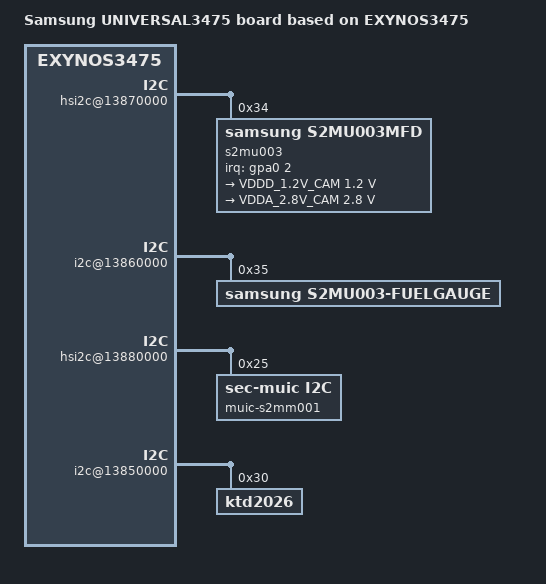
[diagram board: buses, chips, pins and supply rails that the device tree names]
/*
 * SAMSUNG EXYNOS3475 board device tree source
 *
 * Copyright (c) 2013 Samsung Electronics Co., Ltd.
 *		http://www.samsung.com
 *
 * This program is free software; you can redistribute it and/or modify
 * it under the terms of the GNU General Public License version 2 as
 * published by the Free Software Foundation.
*/

/dts-v1/;
#include "exynos3475-novel_common.dtsi"
#include "modem-ss308ap-pdata.dtsi"
#include "exynos3475-novellte_kor-tdmb_00.dtsi"
#include "exynos3475-novellte_kor_open_gpio_00.dtsi"

/ {
	model = "Samsung UNIVERSAL3475 board based on EXYNOS3475";
	model_info-chip = <3475>;
	model_info-platform = "android";
	model_info-subtype = "samsung";
	model_info-hw_rev = <0>;
	model_info-hw_rev_end = <0>;
	compatible = "samsung,UNIVERSAL3475", "samsung,exynos3475";

	hsi2c@13870000 {
		status = "okay";
		s2mu003@34 {
			compatible = "samsung,s2mu003mfd";
			reg = <0x34>;
			pinctrl-names = "default";
			pinctrl-0 = <&if_irq>;
			s2mu003,irq-gpio = <&gpa0 2 0>;

			regulators {
				s2mu003-buck1 {
					regulator-name = "VDDD_1.2V_CAM";
					regulator-min-microvolt = <1200000>;
					regulator-max-microvolt = <1200000>;
				};
				s2mu003-ldo1 {
					regulator-name = "VDDA_2.8V_CAM";
					regulator-min-microvolt = <2800000>;
					regulator-max-microvolt = <2800000>;
				};
			};
		};

		leds {
			torch-gpio = <&gpd0 7 0>;
			flash-gpio = <&gpd2 3 0>;

			status = "okay";
			s2mu003-leds1 {
				ledname = "leds-sec1";
				id = <0>;
				brightness = <0x17>;
				timeout = <0x0>;
				max-brightness = <0x15>;
			};

			s2mu003-leds2 {
				ledname = "leds-sec2";
				id = <1>;
				brightness = <0x02>;
				timeout = <0x0>;
				max-brightness = <0xf>;
			};
		};
	};

	i2c@13860000 {
		status = "okay";
		samsung,i2c-sda-delay = <100>;
		samsung,i2c-max-bus-freq = <400000>;
		#address-cells = <1>;
		#size-cells = <0>;
		s2mu003-fuelgauge@35 {
			compatible = "samsung,s2mu003-fuelgauge";
			reg = <0x35>;
			fuelgauge,fuel_alert_soc = <1>;
			fuelgauge,capacity_max = <1000>;
			fuelgauge,capacity_max_margin = <30>;
			fuelgauge,capacity_min = <0>;
			fuelgauge,capacity_calculation_type = <28>;
			fuelgauge,repeated_fuelalert;
			fuelgauge,type_str = "SDI";
		};
	};

	battery {
		battery,charger_name = "sec-charger";
		battery,fuelgauge_name = "sec-fuelgauge";

		battery,input_current_limit = <1800 0 0 1000 460 900 1000 460 1000 0 820 1900 1000 0 0 400 700 1300 300 1000 1500 0 1667 1000 80 1800>;
		battery,fast_charging_current = <2100 0 0 1000 460 1200 1000 460 1200 0 1000 1600 1000 0 0 400 700 1300 300 1000 1500 0 3150 1000 80 1800>;
		battery,full_check_current_1st = <350 0 0 250 250 250 250 250 250 0 250 250 250 0 0 350 350 350 350 350 350 0 350 350 0 350>;
		battery,full_check_current_2nd = <3000 0 0 3000 3000 3000 3000 3000 3000 0 3000 3000 0 0 0 3000 3000 3000 3000 3000 3000 0 3000 3000 3000 3000>;

	};

	s2mu003-charger {
		status = "disable";
		compatible = "samsung,s2mu003-charger";
		battery,is_1MHz_switching = <1>;
		battery,is_fixed_switching = <1>;
		battery,chg_gpio_en = <0>;
		battery,chg_polarity_en = <0>;
		battery,chg_gpio_status = <0>;
		battery,chg_polarity_status = <0>;
		battery,chg_float_voltage = <4350>;
	};

	hsi2c@13880000 {
		status = "okay";
		muic-s2mm001@25 {
			compatible = "sec-muic,i2c";
			reg = <0x25>;
			pinctrl-names = "default";
			muic,muic_int = <&gpa0 4 0>;
			muic,uart_addr = "139c0000.pinctrl";
			muic,uart_rxd = "gpb1-0";
			muic,uart_txd = "gpb1-1";
		};
	};

	i2c@13850000 {
		ktd2026@30 {
			compatible = "ktd2026";
			reg = <0x30>;

			led_conf@1 {
				led_conf-name = "led_r";
				brightness = <0>;
				max_brightness = /bits/ 8 <0x08>;
				flags = <0>;
			};
			led_conf@2 {
				led_conf-name = "led_g";
				brightness = <0>;
				max_brightness = /bits/ 8 <0x02>;
				flags = <0>;
			};
			led_conf@3 {
				led_conf-name = "led_b";
				brightness = <0>;
				max_brightness = /bits/ 8 <0x1e>;
				flags = <0>;
			};
		};
	};

	hall {
		compatible = "hall";
		pinctrl-names = "default";
		pinctrl-0 = <&hall_irq>;
		hall,gpio_flip_cover = <&gpa0 5 0>;
		status = "disable";
	};

	earjack {
		status = "okay";
	};
};
